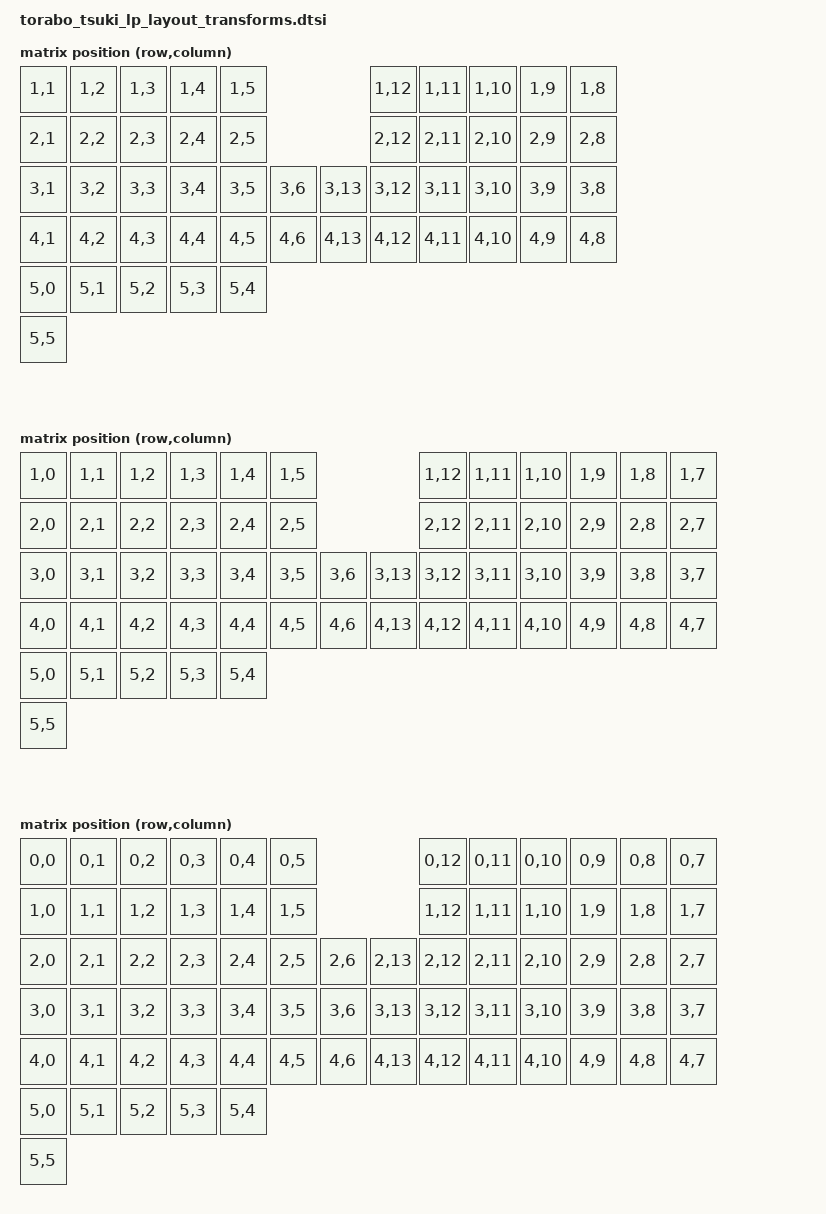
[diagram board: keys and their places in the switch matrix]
#include <dt-bindings/zmk/matrix_transform.h>

/ {
    size_s_transform: keymap_transform_0 {
        compatible = "zmk,matrix-transform";
        columns = <14>;
        rows = <
#if defined(TORABO_TSUKI_LP_KSCAN_4_DIRECTION_SWITCH) || defined(TORABO_TSUKI_LP_INPUT_HIRES_DIAL)
            6
#else
            4
#endif
        >;
        map = <
            RC(1,1) RC(1,2) RC(1,3) RC(1,4) RC(1,5)                  RC(1,12) RC(1,11) RC(1,10) RC(1,9) RC(1,8)
            RC(2,1) RC(2,2) RC(2,3) RC(2,4) RC(2,5)                  RC(2,12) RC(2,11) RC(2,10) RC(2,9) RC(2,8)
            RC(3,1) RC(3,2) RC(3,3) RC(3,4) RC(3,5) RC(3,6) RC(3,13) RC(3,12) RC(3,11) RC(3,10) RC(3,9) RC(3,8)
            RC(4,1) RC(4,2) RC(4,3) RC(4,4) RC(4,5) RC(4,6) RC(4,13) RC(4,12) RC(4,11) RC(4,10) RC(4,9) RC(4,8)
#if defined(TORABO_TSUKI_LP_KSCAN_4_DIRECTION_SWITCH)
            RC(5,0) RC(5,1) RC(5,2) RC(5,3) RC(5,4)
#endif
#if defined(TORABO_TSUKI_LP_INPUT_HIRES_DIAL)
            RC(5,5)
#endif
        >;
    };

    size_m_transform: keymap_transform_1 {
        compatible = "zmk,matrix-transform";
        columns = <14>;
        rows = <
#if defined(TORABO_TSUKI_LP_KSCAN_4_DIRECTION_SWITCH) || defined(TORABO_TSUKI_LP_INPUT_HIRES_DIAL)
            6
#else
            4
#endif
        >;
        map = <
            RC(1,0) RC(1,1) RC(1,2) RC(1,3) RC(1,4) RC(1,5)                  RC(1,12) RC(1,11) RC(1,10) RC(1,9) RC(1,8) RC(1,7)
            RC(2,0) RC(2,1) RC(2,2) RC(2,3) RC(2,4) RC(2,5)                  RC(2,12) RC(2,11) RC(2,10) RC(2,9) RC(2,8) RC(2,7)
            RC(3,0) RC(3,1) RC(3,2) RC(3,3) RC(3,4) RC(3,5) RC(3,6) RC(3,13) RC(3,12) RC(3,11) RC(3,10) RC(3,9) RC(3,8) RC(3,7)
            RC(4,0) RC(4,1) RC(4,2) RC(4,3) RC(4,4) RC(4,5) RC(4,6) RC(4,13) RC(4,12) RC(4,11) RC(4,10) RC(4,9) RC(4,8) RC(4,7)
#if defined(TORABO_TSUKI_LP_KSCAN_4_DIRECTION_SWITCH)
            RC(5,0) RC(5,1) RC(5,2) RC(5,3) RC(5,4)
#endif
#if defined(TORABO_TSUKI_LP_INPUT_HIRES_DIAL)
            RC(5,5)
#endif
        >;
    };

    size_l_transform: keymap_transform_2 {
        compatible = "zmk,matrix-transform";
        columns = <14>;
        rows = <
#if defined(TORABO_TSUKI_LP_KSCAN_4_DIRECTION_SWITCH) || defined(TORABO_TSUKI_LP_INPUT_HIRES_DIAL)
            6
#else
            5
#endif
        >;
        map = <
            RC(0,0) RC(0,1) RC(0,2) RC(0,3) RC(0,4) RC(0,5)                  RC(0,12) RC(0,11) RC(0,10) RC(0,9) RC(0,8) RC(0,7)
            RC(1,0) RC(1,1) RC(1,2) RC(1,3) RC(1,4) RC(1,5)                  RC(1,12) RC(1,11) RC(1,10) RC(1,9) RC(1,8) RC(1,7)
            RC(2,0) RC(2,1) RC(2,2) RC(2,3) RC(2,4) RC(2,5) RC(2,6) RC(2,13) RC(2,12) RC(2,11) RC(2,10) RC(2,9) RC(2,8) RC(2,7)
            RC(3,0) RC(3,1) RC(3,2) RC(3,3) RC(3,4) RC(3,5) RC(3,6) RC(3,13) RC(3,12) RC(3,11) RC(3,10) RC(3,9) RC(3,8) RC(3,7)
            RC(4,0) RC(4,1) RC(4,2) RC(4,3) RC(4,4) RC(4,5) RC(4,6) RC(4,13) RC(4,12) RC(4,11) RC(4,10) RC(4,9) RC(4,8) RC(4,7)
#if defined(TORABO_TSUKI_LP_KSCAN_4_DIRECTION_SWITCH)
            RC(5,0) RC(5,1) RC(5,2) RC(5,3) RC(5,4)
#endif
#if defined(TORABO_TSUKI_LP_INPUT_HIRES_DIAL)
            RC(5,5)
#endif
        >;
    };

};

&physical_layout_s {
    compatible = "zmk,physical-layout";
    display-name = "S Layout";
    kscan = <&kscan0>;
    transform = <&size_s_transform>;
};

&physical_layout_m {
    compatible = "zmk,physical-layout";
    display-name = "M Layout";
    kscan = <&kscan0>;
    transform = <&size_m_transform>;
};

&physical_layout_l {
    compatible = "zmk,physical-layout";
    display-name = "L Layout";
    kscan = <&kscan0>;
    transform = <&size_l_transform>;
};
